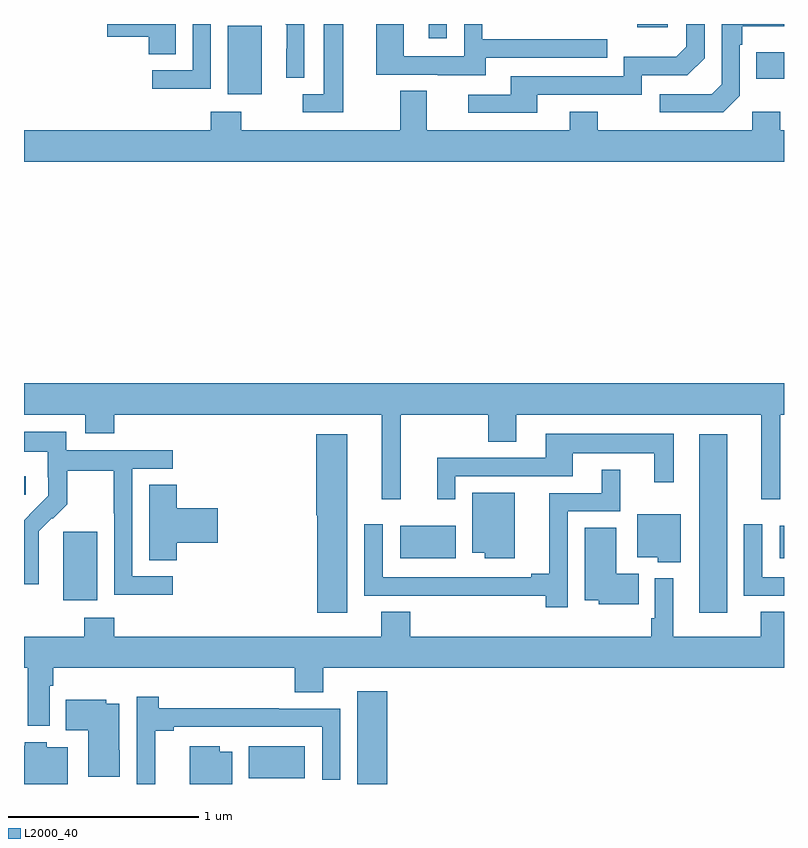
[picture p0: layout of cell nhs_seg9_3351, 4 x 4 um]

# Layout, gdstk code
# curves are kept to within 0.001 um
import gdstk
lib = gdstk.Library(unit=1e-6, precision=1e-09)
def R(c, l, rs):  # rectangles x0, y0, x1, y1
    for r in rs: c.add(gdstk.rectangle(r[:2], r[2:], *l))
def P(c, l, *ps):  # polygons
    for p in ps: c.add(gdstk.Polygon(p, *l))
L2000_40 = (2000, 40)

nhs_seg9_3351 = lib.new_cell('nhs_seg9_3351')
R(nhs_seg9_3351, L2000_40, [(304.754,1170.5,304.913,1170.988), (304.184,1170.53,304.477,1170.7), (306.554,1171.401,306.7,1172.341), (303.206,1171.466,303.385,1171.827), (304.979,1171.688,305.272,1171.858), (306.977,1171.688,307,1171.858), (303,1172.022,303.01,1172.119), (304.073,1174.13,304.252,1174.491), (306.853,1174.211,307,1174.351), (305.129,1174.425,305.226,1174.5), (306.227,1174.484,306.388,1174.5)])
P(nhs_seg9_3351, L2000_40, [(303.799,1174.5),(303.438,1174.5),(303.438,1174.433),(303.656,1174.433),(303.656,1174.342),(303.799,1174.342)],
  [(304.681,1174.5),(304.577,1174.5),(304.577,1174.131),(304.467,1174.131),(304.467,1174.035),(304.681,1174.035)],
  [(305.431,1174.323),(306.071,1174.323),(306.071,1174.419),(305.412,1174.419),(305.412,1174.5),(305.316,1174.5),(305.316,1174.329),(304.998,1174.329),(304.998,1174.5),(304.853,1174.5),(304.853,1174.233),(305.177,1174.233),(305.177,1174.229),(305.431,1174.229)],
  [(305.701,1174.128),(306.252,1174.128),(306.252,1174.23),(306.492,1174.23),(306.582,1174.32),(306.582,1174.5),(306.486,1174.5),(306.486,1174.38),(306.433,1174.327),(306.156,1174.327),(306.156,1174.224),(305.561,1174.224),(305.561,1174.128),(305.337,1174.128),(305.337,1174.032),(305.701,1174.032)],
  [(304.476,1174.5),(304.375,1174.5),(304.382,1174.493),(304.382,1174.37),(304.38,1174.37),(304.38,1174.216),(304.476,1174.216)],
  [(306.768,1174.122),(306.768,1174.391),(306.781,1174.391),(306.781,1174.487),(307,1174.487),(307,1174.5),(306.672,1174.5),(306.672,1174.182),(306.621,1174.131),(306.345,1174.131),(306.345,1174.035),(306.681,1174.035)],
  [(303.984,1174.5),(303.888,1174.5),(303.888,1174.257),(303.675,1174.257),(303.675,1174.159),(303.984,1174.159)],
  [(307,1173.94),(306.981,1173.94),(306.981,1174.039),(306.834,1174.039),(306.834,1173.94),(306.021,1173.94),(306.021,1174.039),(305.873,1174.039),(305.873,1173.94),(305.119,1173.94),(305.119,1174.148),(304.979,1174.148),(304.979,1173.94),(304.143,1173.94),(304.143,1174.039),(303.983,1174.039),(303.983,1173.94),(303,1173.94),(303,1173.776),(307,1173.776)],
  [(303,1172.444),(303.323,1172.444),(303.323,1172.345),(303.476,1172.345),(303.476,1172.444),(304.883,1172.444),(304.883,1171.998),(304.982,1171.998),(304.982,1172.444),(305.443,1172.444),(305.443,1172.302),(305.59,1172.302),(305.59,1172.444),(306.881,1172.444),(306.881,1171.998),(306.98,1171.998),(306.98,1172.444),(307,1172.444),(307,1172.608),(303,1172.608)],
  [(303.784,1171.593),(303.57,1171.593),(303.57,1172.16),(303.784,1172.16),(303.784,1172.256),(303.222,1172.256),(303.222,1172.353),(303,1172.353),(303,1172.249),(303.126,1172.249),(303.126,1172.115),(303.128,1172.115),(303.128,1172.018),(303,1171.888),(303,1171.552),(303.078,1171.552),(303.077,1171.829),(303.147,1171.899),(303.15,1171.896),(303.227,1171.973),(303.227,1172.148),(303.472,1172.148),(303.472,1171.924),(303.474,1171.924),(303.474,1171.495),(303.784,1171.495)],
  [(305.271,1172.121),(305.887,1172.121),(305.887,1172.24),(306.317,1172.24),(306.317,1172.088),(306.421,1172.088),(306.421,1172.344),(305.747,1172.344),(305.747,1172.217),(305.174,1172.217),(305.174,1171.998),(305.271,1171.998)],
  [(304.702,1172.341),(304.538,1172.341),(304.538,1171.914),(304.544,1171.914),(304.544,1171.401),(304.702,1171.401)],
  [(305.862,1171.935),(306.139,1171.935),(306.139,1172.155),(306.041,1172.155),(306.041,1172.031),(305.765,1172.031),(305.765,1171.607),(305.669,1171.607),(305.669,1171.587),(304.887,1171.587),(304.887,1171.867),(304.791,1171.867),(304.791,1171.491),(305.116,1171.491),(305.116,1171.49),(305.746,1171.49),(305.746,1171.431),(305.862,1171.431)],
  [(303.803,1171.769),(304.021,1171.769),(304.021,1171.952),(303.803,1171.952),(303.803,1172.075),(303.659,1172.075),(303.659,1171.678),(303.803,1171.678)],
  [(305.584,1172.032),(305.36,1172.032),(305.36,1171.718),(305.426,1171.718),(305.426,1171.688),(305.584,1171.688)],
  [(306.457,1171.921),(306.227,1171.921),(306.227,1171.694),(306.336,1171.694),(306.336,1171.667),(306.457,1171.667)],
  [(307,1171.587),(306.885,1171.587),(306.885,1171.867),(306.789,1171.867),(306.789,1171.491),(307,1171.491)],
  [(306.236,1171.606),(306.118,1171.606),(306.118,1171.85),(305.951,1171.85),(305.951,1171.466),(306.024,1171.466),(306.024,1171.445),(306.236,1171.445)],
  [(303.135,1171.016),(303.155,1171.016),(303.155,1171.112),(304.424,1171.112),(304.424,1170.982),(304.576,1170.982),(304.576,1171.112),(307,1171.112),(307,1171.406),(306.878,1171.406),(306.878,1171.276),(306.418,1171.276),(306.418,1171.582),(306.321,1171.582),(306.321,1171.372),(306.301,1171.372),(306.301,1171.276),(305.033,1171.276),(305.033,1171.406),(304.88,1171.406),(304.88,1171.276),(303.476,1171.276),(303.476,1171.375),(303.316,1171.375),(303.316,1171.276),(303,1171.276),(303,1171.112),(303.019,1171.112),(303.019,1170.806),(303.135,1170.806)],
  [(303.692,1170.781),(303.787,1170.781),(303.787,1170.801),(304.569,1170.801),(304.569,1170.522),(304.665,1170.522),(304.665,1170.897),(304.34,1170.897),(304.34,1170.899),(303.71,1170.899),(303.71,1170.958),(303.594,1170.958),(303.594,1170.5),(303.692,1170.5)],
  [(303.505,1170.678),(303.502,1170.678),(303.502,1170.922),(303.432,1170.922),(303.432,1170.943),(303.22,1170.943),(303.22,1170.782),(303.338,1170.782),(303.338,1170.538),(303.505,1170.538)],
  [(303.229,1170.694),(303.12,1170.694),(303.12,1170.721),(303.003,1170.721),(303.003,1170.702),(303,1170.702),(303,1170.5),(303.229,1170.5)],
  [(304.096,1170.67),(304.03,1170.67),(304.03,1170.7),(303.872,1170.7),(303.872,1170.5),(304.096,1170.5)])

lib.write_gds('nhs_seg9_3351.gds')
